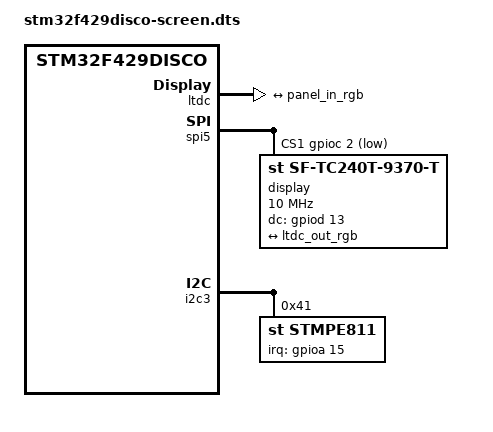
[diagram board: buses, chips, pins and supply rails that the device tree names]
/*
 * Touch-enabled display base owned by BR2_PACKAGE_FIRMWARE_SCREEN.
 * Screen copies this over the composed stm32f429disco-display.dts name in
 * the kernel build tree; the tracked Display/Gallery base stays unchanged.
 */
#include "stm32f429disco-custom.dts"

&ltdc {
	status = "okay";
	pinctrl-0 = <&ltdc_pins_b>;
	pinctrl-names = "default";

	port {
		ltdc_out_rgb: endpoint {
			remote-endpoint = <&panel_in_rgb>;
		};
	};
};

&spi5 {
	/* CS0 is the gyroscope; CS1 is the LCD controller. */
	cs-gpios = <&gpioc 1 GPIO_ACTIVE_LOW>,
		     <&gpioc 2 GPIO_ACTIVE_LOW>;

	display: display@1 {
		compatible = "st,sf-tc240t-9370-t", "ilitek,ili9341";
		reg = <1>;
		spi-3wire;
		spi-max-frequency = <10000000>;
		dc-gpios = <&gpiod 13 GPIO_ACTIVE_HIGH>;

		port {
			panel_in_rgb: endpoint {
				remote-endpoint = <&ltdc_out_rgb>;
			};
		};
	};
};

&i2c3 {
	stmpe811: touchscreen-controller@41 {
		compatible = "st,stmpe811";
		reg = <0x41>;
		interrupt-parent = <&gpioa>;
		interrupts = <15 IRQ_TYPE_EDGE_FALLING>;
		st,adc-freq = <1>;
		st,mod-12b = <1>;
		st,ref-sel = <0>;
		st,sample-time = <4>;

		touchscreen {
			compatible = "st,stmpe-ts";
			st,ave-ctrl = <3>;
			st,fraction-z = <7>;
			st,i-drive = <1>;
			st,settling = <3>;
			st,touch-det-delay = <5>;
		};
	};
};
